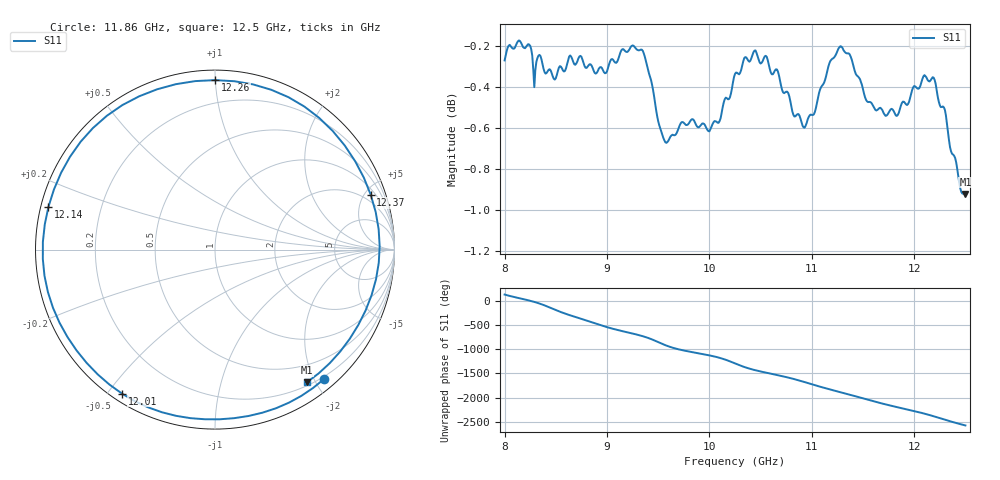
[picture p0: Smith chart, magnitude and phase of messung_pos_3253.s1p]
#  HZ  S  RI  R  50.00
! Rohde & Schwarz Vector Network Analyzer
! Rohde-Schwarz,ZNA43-4Port,1332450044101932,2.92
! Created: UTC 6/1/2026, 11:35:04 AM
! freq[Hz]  re:S11  im:S11
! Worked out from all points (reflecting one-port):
!   451 points, 8 GHz to 12.5 GHz, reference 50 ohm
!   lowest |S11| = -0.9 dB at 12.5 GHz (marker M1), VSWR 18.87, Z = 12.2 - j94.2 ohm
!   phase of S11 starts at 129 deg and turns -2704 deg over the sweep
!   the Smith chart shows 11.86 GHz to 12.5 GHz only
!   S11 on the Smith chart (normalised r, x): 11.86 GHz: 0.16, -2.14; 12.01 GHz: 0.03, -0.54; 12.14 GHz: 0.02, +0.13; 12.26 GHz: 0.06, +1.00; 12.37 GHz: 1.39, +5.52; 12.5 GHz: 0.24, -1.88
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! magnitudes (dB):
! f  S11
! 8 GHz  -0.3
! 8.14 GHz  -0.2
! 8.24 GHz  -0.2
! 8.29 GHz  -0.4
! 8.34 GHz  -0.2
! 8.48 GHz  -0.4
! 8.57 GHz  -0.3
! 8.74 GHz  -0.3
! 8.98 GHz  -0.3
! 9.13 GHz  -0.2
! 9.35 GHz  -0.2
! 9.55 GHz  -0.6
! 9.69 GHz  -0.6
! 10.09 GHz  -0.6
! 10.25 GHz  -0.3
! 10.55 GHz  -0.2
! 10.82 GHz  -0.5
! 10.93 GHz  -0.6
! 11.26 GHz  -0.2
! 11.38 GHz  -0.3
! 11.54 GHz  -0.5
! 11.86 GHz  -0.5
! 11.94 GHz  -0.5
! 12.01 GHz  -0.4
! 12.14 GHz  -0.4
! 12.26 GHz  -0.5
! 12.37 GHz  -0.7
! 12.5 GHz  -0.9
